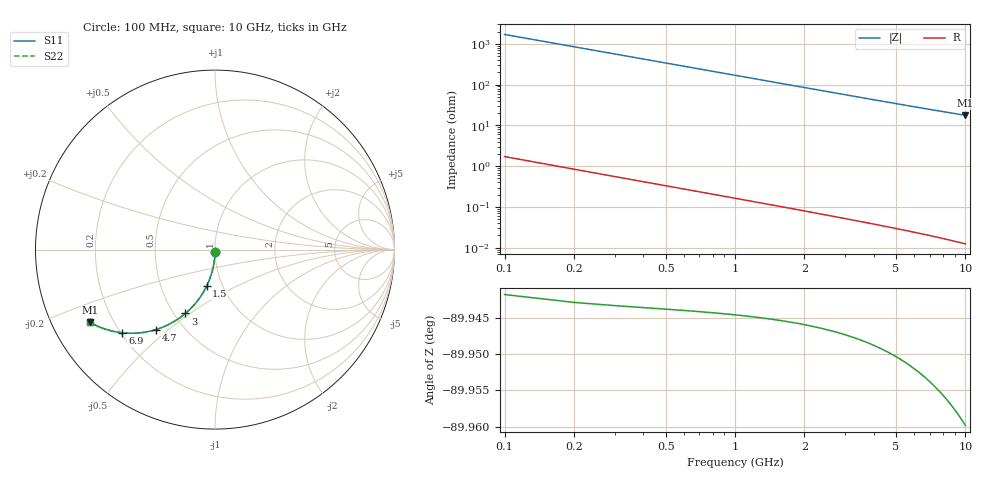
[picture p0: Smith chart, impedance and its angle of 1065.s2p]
# Hz S RI R 50.00
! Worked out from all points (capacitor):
!   100 points, 100 MHz to 10 GHz, reference 50 ohm
!   read as one part in shunt: C = 940 fF near 100 MHz
!   lowest |Z| = 17.7 ohm at 10 GHz (marker M1)
!   S11 on the Smith chart (normalised r, x): 100 MHz: 1.00, -0.03; 1.5 GHz: 0.84, -0.36; 3 GHz: 0.57, -0.48; 4.7 GHz: 0.35, -0.45; 6.9 GHz: 0.21, -0.37; 10 GHz: 0.12, -0.27
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1e8  -3.9e-05 -0.0142  0.9996 -0.0153  0.9996 -0.0153  -3.9e-05 -0.0142
2e8  -0.000704 -0.0285  0.9989 -0.0305  0.9989 -0.0305  -0.000704 -0.0285
3e8  -0.0018 -0.0427  0.9978 -0.0457  0.9978 -0.0457  -0.0018 -0.0427
4e8  -0.00333 -0.0568  0.9963 -0.0609  0.9963 -0.0609  -0.00333 -0.0568
5e8  -0.00529 -0.0709  0.9943 -0.0759  0.9943 -0.0759  -0.00529 -0.0709
6e8  -0.00766 -0.0848  0.9919 -0.0909  0.9919 -0.0909  -0.00766 -0.0848
7e8  -0.0105 -0.0987  0.9891 -0.1058  0.9891 -0.1058  -0.0105 -0.0987
9e8  -0.0173 -0.126  0.9823 -0.1351  0.9823 -0.1351  -0.0173 -0.126
1.2e9  -0.0304 -0.1657  0.9691 -0.1779  0.9691 -0.1779  -0.0304 -0.1657
1.5e9  -0.0468 -0.2036  0.9527 -0.2188  0.9527 -0.2188  -0.0468 -0.2036
1.8e9  -0.066 -0.2392  0.9334 -0.2575  0.9334 -0.2575  -0.066 -0.2392
2.4e9  -0.1119 -0.303  0.8874 -0.3273  0.8874 -0.3273  -0.1119 -0.303
3e9  -0.1647 -0.3556  0.8344 -0.3861  0.8344 -0.3861  -0.1647 -0.3556
3.4e9  -0.2024 -0.3843  0.7966 -0.4189  0.7966 -0.4189  -0.2024 -0.3843
4e9  -0.2604 -0.4183  0.7383 -0.4591  0.7383 -0.4591  -0.2604 -0.4183
4.7e9  -0.3279 -0.4452  0.6705 -0.4932  0.6705 -0.4932  -0.3279 -0.4452
5.1e9  -0.3653 -0.4552  0.6329 -0.5074  0.6329 -0.5074  -0.3653 -0.4552
5.9e9  -0.4363 -0.4652  0.5614 -0.5258  0.5614 -0.5258  -0.4363 -0.4652
6.7e9  -0.5008 -0.4649  0.4963 -0.534  0.4963 -0.534  -0.5008 -0.4649
6.9e9  -0.5159 -0.4636  0.4811 -0.5348  0.4811 -0.5348  -0.5159 -0.4636
8.4e9  -0.6148 -0.4419  0.3809 -0.5293  0.3809 -0.5293  -0.6148 -0.4419
1e10  -0.6961 -0.4056  0.2979 -0.5106  0.2979 -0.5106  -0.6961 -0.4056
